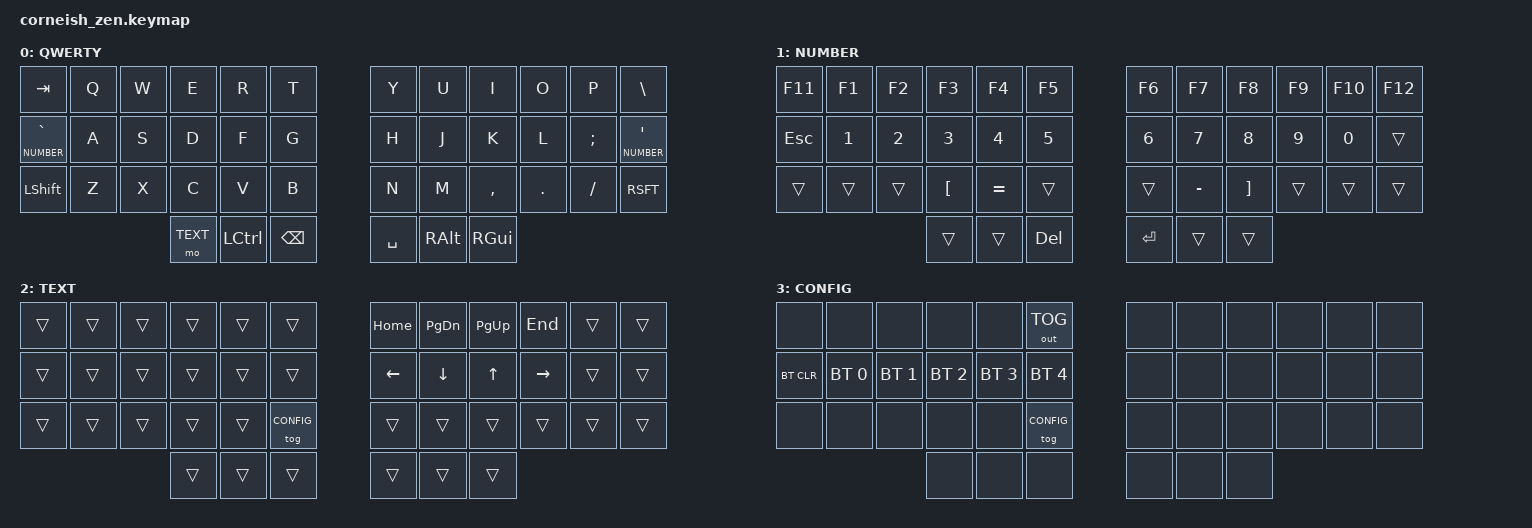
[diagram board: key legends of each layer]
/*
*
* Copyright (c) 2021 lowprokb.ca
* SPDX-License-Identifier: MIT
*
*/

#include <behaviors.dtsi>
#include <dt-bindings/zmk/keys.h>
#include <dt-bindings/zmk/bt.h>
#include <dt-bindings/zmk/outputs.h>

#define QWERTY 0
#define NUMBER 1
#define  TEXT  2
#define CONFIG 3

/ {
        keymap {
                compatible = "zmk,keymap";

                default_layer {
                        label = "QWERTY";
                        bindings = <
   &kp TAB              &kp Q    &kp W    &kp E    &kp R    &kp T                       &kp Y    &kp U    &kp I       &kp O      &kp P       &kp BSLH
   &lt NUMBER GRAVE     &kp A    &kp S    &kp D    &kp F    &kp G                       &kp H    &kp J    &kp K       &kp L      &kp SEMI    &lt NUMBER SQT
   &kp LSHFT            &kp Z    &kp X    &kp C    &kp V    &kp B                       &kp N    &kp M    &kp CMMA    &kp DOT    &kp FSLH    &kp RSFT
                                                   &mo TEXT &kp LCTL &kp BSPC   &kp SPC &kp RALT &kp RGUI
                        >;
                };

                number_layer {
                        label = "NUMBER";
                        bindings = <
   &kp F11   &kp F1    &kp F2    &kp F3    &kp F4    &kp F5                               &kp F6    &kp F7    &kp F8    &kp F9    &kp F10   &kp F12
   &kp ESC   &kp N1    &kp N2    &kp N3    &kp N4    &kp N5                               &kp N6    &kp N7    &kp N8    &kp N9    &kp N0    &trans
   &trans    &trans    &trans    &kp LBKT  &kp EQUAL &trans                               &trans    &kp MINUS &kp RBKT  &trans    &trans    &trans  
                                           &trans    &trans  &kp DEL             &kp RET  &trans    &trans
                        >;
                };

                text_layer {
                        label = " TEXT ";
                        bindings = < 
   &trans    &trans    &trans    &trans    &trans    &trans                     &kp HOME  &kp PG_DN &kp PG_UP &kp END   &trans    &trans  
   &trans    &trans    &trans    &trans    &trans    &trans                     &kp LEFT  &kp DOWN  &kp UP    &kp RIGHT &trans    &trans  
   &trans    &trans    &trans    &trans    &trans    &tog CONFIG                &trans    &trans    &trans    &trans    &trans    &trans   
                                           &trans    &trans  &trans     &trans  &trans    &trans
                        >;
                };

                config_layer {
                        label = "CONFIG";
                        bindings = <
   &none      &none        &none        &none        &none        &out OUT_TOG          &none &none &none &none &none &none 
   &bt BT_CLR &bt BT_SEL 0 &bt BT_SEL 1 &bt BT_SEL 2 &bt BT_SEL 3 &bt BT_SEL 4          &none &none &none &none &none &none
   &none      &none        &none        &none        &none        &tog CONFIG           &none &none &none &none &none &none
                                                          &none &none &none         &none &none &none
                        >;
                };

        };
};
